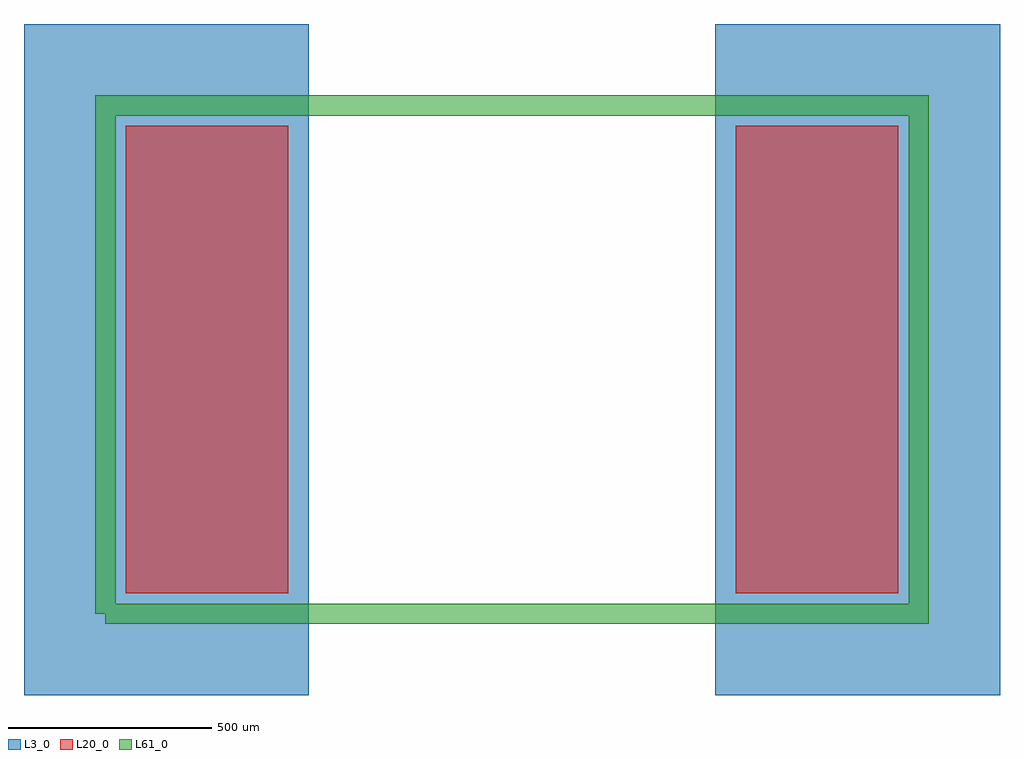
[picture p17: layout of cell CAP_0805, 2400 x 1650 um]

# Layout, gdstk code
import gdstk
lib = gdstk.Library(unit=1e-6, precision=1e-09)
def R(c, l, rs):  # rectangles x0, y0, x1, y1
    for r in rs: c.add(gdstk.rectangle(r[:2], r[2:], *l))
L3_0 = (3, 0)
L20_0 = (20, 0)
L61_0 = (61, 0)

cap_0805 = lib.new_cell('CAP_0805')
R(cap_0805, L3_0, [(-200,-200,500,1450), (1500,-200,2200,1450)])
R(cap_0805, L20_0, [(50,50,450,1200), (1550,50,1950,1200)])
cap_0805.add(gdstk.FlexPath([(0,0),(2000,0),(2000,1250),(0,1250),(0,0)], 50, ends="flush", simple_path=True, layer=61, datatype=0))  # L61_0

lib.write_gds('CAP_0805.gds')
